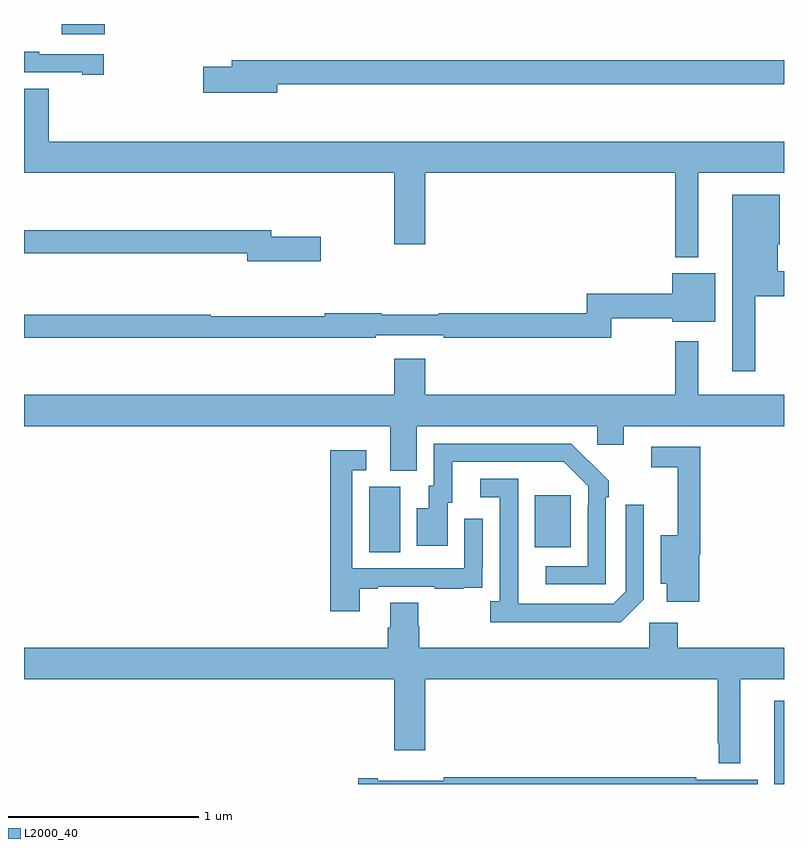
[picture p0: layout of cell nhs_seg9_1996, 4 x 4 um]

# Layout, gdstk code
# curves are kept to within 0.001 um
import gdstk
lib = gdstk.Library(unit=1e-6, precision=1e-09)
def R(c, l, rs):  # rectangles x0, y0, x1, y1
    for r in rs: c.add(gdstk.rectangle(r[:2], r[2:], *l))
def P(c, l, *ps):  # polygons
    for p in ps: c.add(gdstk.Polygon(p, *l))
L2000_40 = (2000, 40)

nhs_seg9_1996 = lib.new_cell('nhs_seg9_1996')
R(nhs_seg9_1996, L2000_40, [(226.949,1230.5,227,1230.937), (224.816,1231.72,224.98,1232.064), (225.689,1231.745,225.877,1232.02), (223.199,1234.445,223.426,1234.5)])
P(nhs_seg9_1996, L2000_40, [(223.42,1234.341),(223.081,1234.341),(223.081,1234.354),(223,1234.354),(223,1234.245),(223.307,1234.245),(223.307,1234.233),(223.42,1234.233)],
  [(224.332,1234.182),(227,1234.182),(227,1234.31),(224.093,1234.31),(224.093,1234.274),(223.944,1234.274),(223.944,1234.139),(224.332,1234.139)],
  [(226.549,1233.716),(227,1233.716),(227,1233.88),(223.13,1233.88),(223.13,1234.16),(223,1234.16),(223,1233.716),(224.948,1233.716),(224.948,1233.342),(225.112,1233.342),(225.112,1233.716),(226.428,1233.716),(226.428,1233.272),(226.549,1233.272)],
  [(226.849,1233.068),(227,1233.068),(227,1233.2),(226.966,1233.2),(226.966,1233.342),(226.978,1233.342),(226.978,1233.601),(226.727,1233.601),(226.727,1232.673),(226.849,1232.673)],
  [(224.563,1233.381),(224.302,1233.381),(224.302,1233.415),(223,1233.415),(223,1233.294),(224.174,1233.294),(224.174,1233.251),(224.563,1233.251)],
  [(224.852,1232.862),(225.208,1232.862),(225.208,1232.85),(226.09,1232.85),(226.09,1232.952),(226.412,1232.952),(226.412,1232.933),(226.639,1232.933),(226.639,1233.187),(226.412,1233.187),(226.412,1233.08),(225.961,1233.08),(225.961,1232.978),(225.184,1232.978),(225.184,1232.971),(224.884,1232.971),(224.884,1232.978),(224.584,1232.978),(224.584,1232.963),(223.984,1232.963),(223.984,1232.971),(223,1232.971),(223,1232.85),(224.852,1232.85)],
  [(225.067,1232.384),(226.017,1232.384),(226.017,1232.286),(226.156,1232.286),(226.156,1232.384),(227,1232.384),(227,1232.548),(226.549,1232.548),(226.549,1232.83),(226.428,1232.83),(226.428,1232.548),(225.112,1232.548),(225.112,1232.737),(224.948,1232.737),(224.948,1232.548),(223,1232.548),(223,1232.384),(224.927,1232.384),(224.927,1232.149),(225.067,1232.149)],
  [(226.062,1232.009),(226.077,1232.009),(226.077,1232.097),(225.88,1232.292),(225.156,1232.292),(225.156,1232.07),(225.131,1232.07),(225.131,1231.951),(225.068,1231.951),(225.068,1231.755),(225.229,1231.755),(225.229,1231.98),(225.253,1231.98),(225.253,1232.196),(225.841,1232.196),(225.969,1232.067),(225.969,1231.967),(225.966,1231.967),(225.966,1231.647),(225.747,1231.647),(225.747,1231.551),(226.062,1231.551)],
  [(226.553,1231.706),(226.559,1231.706),(226.559,1232.274),(226.302,1232.274),(226.302,1232.166),(226.442,1232.166),(226.442,1231.81),(226.352,1231.81),(226.352,1231.553),(226.382,1231.553),(226.382,1231.458),(226.553,1231.458)],
  [(224.767,1231.527),(224.863,1231.527),(224.863,1231.539),(225.163,1231.539),(225.163,1231.527),(225.311,1231.527),(225.311,1231.533),(225.413,1231.533),(225.413,1231.642),(225.414,1231.642),(225.414,1231.897),(225.318,1231.897),(225.318,1231.635),(224.727,1231.635),(224.727,1232.151),(224.8,1232.151),(224.8,1232.257),(224.611,1232.257),(224.611,1231.41),(224.767,1231.41)],
  [(226.263,1231.473),(226.263,1231.969),(226.167,1231.969),(226.167,1231.515),(226.101,1231.449),(225.601,1231.449),(225.6,1232.106),(225.402,1232.106),(225.402,1232.01),(225.504,1232.01),(225.504,1231.462),(225.453,1231.462),(225.453,1231.352),(226.142,1231.352)],
  [(226.771,1231.052),(227,1231.052),(227,1231.216),(226.442,1231.216),(226.442,1231.348),(226.29,1231.348),(226.29,1231.216),(225.08,1231.216),(225.08,1231.329),(225.075,1231.329),(225.075,1231.454),(224.927,1231.454),(224.927,1231.322),(224.915,1231.322),(224.915,1231.216),(223,1231.216),(223,1231.052),(224.948,1231.052),(224.948,1230.678),(225.112,1230.678),(225.112,1231.052),(226.65,1231.052),(226.65,1230.715),(226.656,1230.715),(226.656,1230.608),(226.771,1230.608)],
  [(226.861,1230.523),(226.538,1230.523),(226.538,1230.536),(225.208,1230.536),(225.208,1230.517),(224.863,1230.517),(224.863,1230.53),(224.759,1230.53),(224.759,1230.5),(226.861,1230.5)])

lib.write_gds('nhs_seg9_1996.gds')
